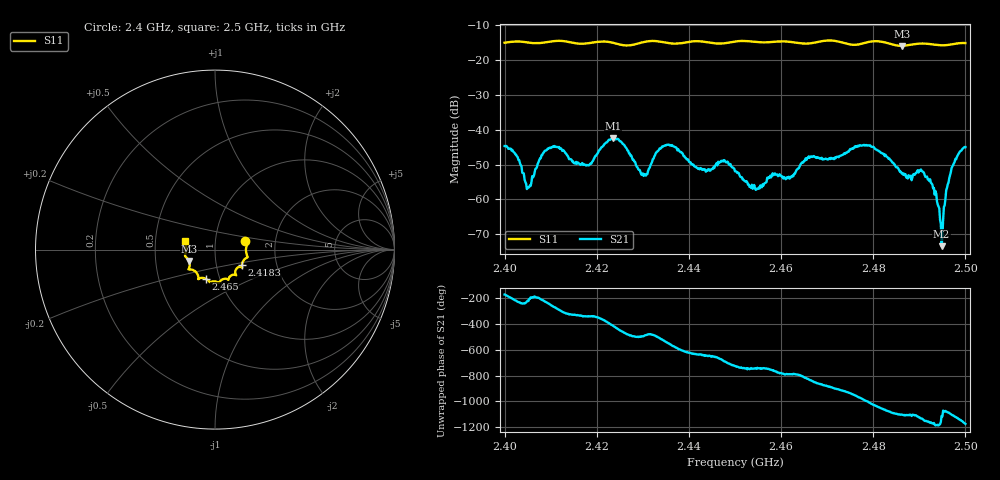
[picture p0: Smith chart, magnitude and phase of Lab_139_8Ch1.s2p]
# Hz S RI R 50
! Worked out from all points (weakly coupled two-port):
!   601 points, 2.4 GHz to 2.5 GHz, reference 50 ohm
!   highest |S21| = -42.42 dB at 2.4235 GHz (marker M1); lowest = -73.4 dB at 2.4948 GHz (marker M2)
!   lowest |S11| = -16.0 dB at 2.4862 GHz (marker M3), VSWR 1.38, Z = 37.1 - j4.8 ohm
!   |S11| at or under -10 dB: start of sweep to end of sweep
!   S12 and S22 are empty: the file has one direction only
!   S11 on the Smith chart (normalised r, x): 2.4 GHz: 1.40, +0.13; 2.4183 GHz: 1.33, -0.24; 2.465 GHz: 0.86, -0.29; 2.5 GHz: 0.71, +0.07
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2.4e9  0.1692 0.0454  -0.00576 -0.00079  0 0  0 0
2.402667e9  0.1796 0.0335  -0.00296 0.00289  0 0  0 0
2.405167e9  0.1753 0.017  -0.00109 0.00101  0 0  0 0
2.41e9  0.179 -0.0345  -0.00164 0.00519  0 0  0 0
2.416667e9  0.155 -0.0684  0.00293 0.00127  0 0  0 0
2.418333e9  0.1498 -0.0868  0.00293 0.000996  0 0  0 0
2.4235e9  0.1462 -0.0967  0.0045 -0.00609  0 0  0 0
2.430167e9  0.1141 -0.1379  -0.00154 -0.00154  0 0  0 0
2.433333e9  0.1168 -0.1412  -0.00401 -0.00292  0 0  0 0
2.436e9  0.0992 -0.1402  -0.00567 0.002  0 0  0 0
2.441833e9  0.0739 -0.1689  0.000274 0.00282  0 0  0 0
2.45e9  0.0251 -0.1806  0.00252 -0.000246  0 0  0 0
2.454833e9  0.0088 -0.1789  0.00133 -0.000465  0 0  0 0
2.465e9  -0.0527 -0.162  -0.000126 -0.00358  0 0  0 0
2.466667e9  -0.0712 -0.1575  -0.00204 -0.00351  0 0  0 0
2.478167e9  -0.1345 -0.1109  5.38e-05 0.00591  0 0  0 0
2.483333e9  -0.1421 -0.096  0.00383 0.000181  0 0  0 0
2.486167e9  -0.1449 -0.0631  0.0022 -0.000831  0 0  0 0
2.492e9  -0.1663 -0.0278  0.000493 -0.00186  0 0  0 0
2.494833e9  -0.1608 0.00209  0.000181 -0.000115  0 0  0 0
2.497e9  -0.1638 0.0275  0.00259 -0.0011  0 0  0 0
2.5e9  -0.1669 0.0475  -0.000312 -0.00563  0 0  0 0
